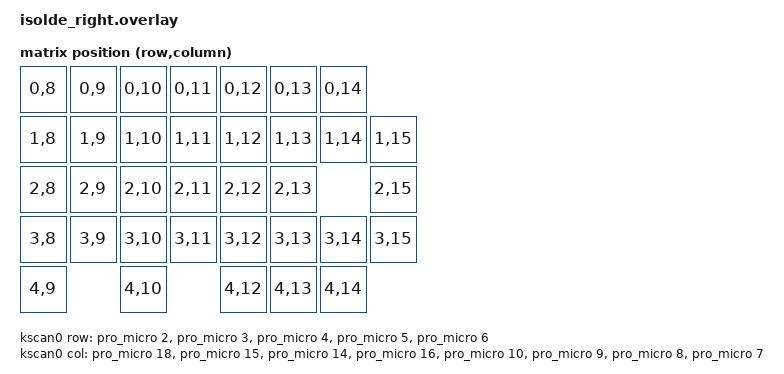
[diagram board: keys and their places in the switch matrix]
/*
 * Copyright (c) 2022 The ZMK Contributors
 *
 * SPDX-License-Identifier: MIT
 */

#include <dt-bindings/zmk/matrix_transform.h>
#include "isolde_right-layouts.dtsi"

&physical_layout0 {
    transform = <&matrix_transform0>;
};

/ {
    chosen {
        zmk,kscan = &kscan0;
        zmk,physical-layout = &physical_layout0;
    };

    matrix_transform0: keymap_transform_0 {
        compatible = "zmk,matrix-transform";
        columns = <8>;
        rows = <5>;
        map = <
            RC(0,8) RC(0,9) RC(0,10) RC(0,11) RC(0,12) RC(0,13) RC(0,14)
            RC(1,8) RC(1,9) RC(1,10) RC(1,11) RC(1,12) RC(1,13) RC(1,14) RC(1,15)
            RC(2,8) RC(2,9) RC(2,10) RC(2,11) RC(2,12) RC(2,13)          RC(2,15)
            RC(3,8) RC(3,9) RC(3,10) RC(3,11) RC(3,12) RC(3,13) RC(3,14) RC(3,15)
             RC(4,9)         RC(4,10)          RC(4,12) RC(4,13) RC(4,14)          
        >;
    };


    kscan0: kscan_0 {
        compatible = "zmk,kscan-gpio-matrix";
        wakeup-source;

        diode-direction = "col2row";

        col-gpios  
            = <&pro_micro 18 (GPIO_ACTIVE_HIGH | GPIO_PULL_DOWN)>
            , <&pro_micro 15 (GPIO_ACTIVE_HIGH | GPIO_PULL_DOWN)>
            , <&pro_micro 14 (GPIO_ACTIVE_HIGH | GPIO_PULL_DOWN)>
            , <&pro_micro 16 (GPIO_ACTIVE_HIGH | GPIO_PULL_DOWN)>
            , <&pro_micro 10 (GPIO_ACTIVE_HIGH | GPIO_PULL_DOWN)>
            , <&pro_micro 9 (GPIO_ACTIVE_HIGH | GPIO_PULL_DOWN)>
            , <&pro_micro 8 (GPIO_ACTIVE_HIGH | GPIO_PULL_DOWN)>
            , <&pro_micro 7 (GPIO_ACTIVE_HIGH | GPIO_PULL_DOWN)>
            ;
    row-gpios
            = <&pro_micro 2 (GPIO_ACTIVE_HIGH | GPIO_PULL_DOWN)>
            , <&pro_micro 3 (GPIO_ACTIVE_HIGH | GPIO_PULL_DOWN)>
            , <&pro_micro 4 (GPIO_ACTIVE_HIGH | GPIO_PULL_DOWN)>
            , <&pro_micro 5 (GPIO_ACTIVE_HIGH | GPIO_PULL_DOWN)>
            , <&pro_micro 6 (GPIO_ACTIVE_HIGH | GPIO_PULL_DOWN)>
            ;
};
};
